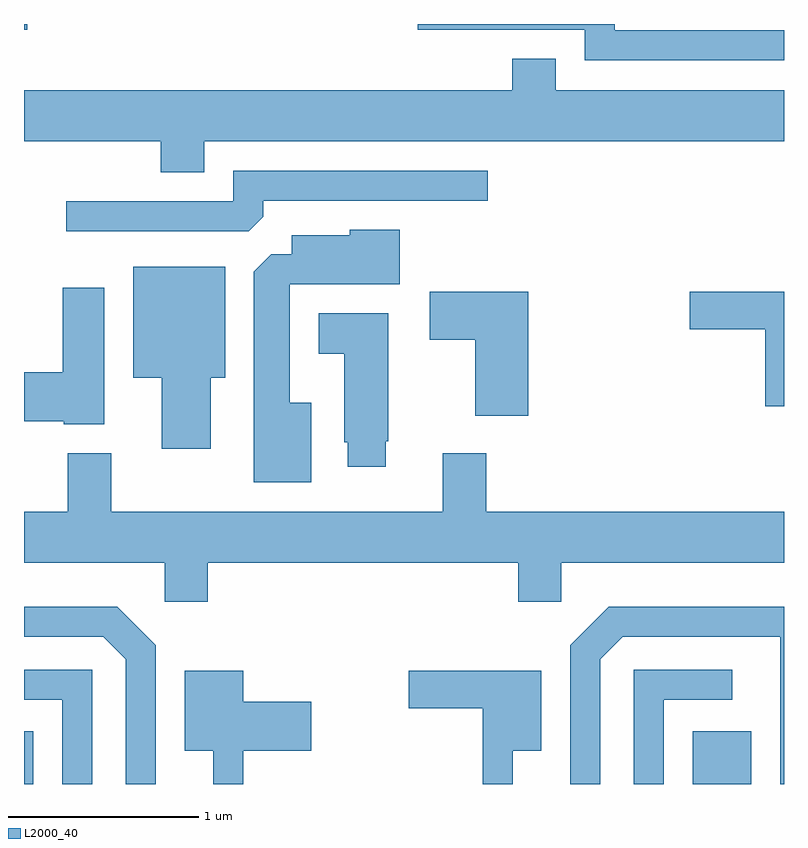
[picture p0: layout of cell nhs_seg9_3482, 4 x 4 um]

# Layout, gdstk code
import gdstk
lib = gdstk.Library(unit=1e-6, precision=1e-09)
def R(c, l, rs):  # rectangles x0, y0, x1, y1
    for r in rs: c.add(gdstk.rectangle(r[:2], r[2:], *l))
def P(c, l, *ps):  # polygons
    for p in ps: c.add(gdstk.Polygon(p, *l))
L2000_40 = (2000, 40)

nhs_seg9_3482 = lib.new_cell('nhs_seg9_3482')
R(nhs_seg9_3482, L2000_40, [(287.611,1988.432,287.659,1988.709), (291.131,1988.432,291.439,1988.709), (287.611,1992.401,287.628,1992.432)])
P(nhs_seg9_3482, L2000_40, [(291.611,1992.399),(290.719,1992.399),(290.719,1992.432),(289.683,1992.432),(289.683,1992.401),(290.561,1992.401),(290.561,1992.241),(291.611,1992.241)],
  [(288.559,1991.816),(291.611,1991.816),(291.611,1992.084),(290.409,1992.084),(290.409,1992.249),(290.181,1992.249),(290.181,1992.084),(287.611,1992.084),(287.611,1991.816),(288.331,1991.816),(288.331,1991.651),(288.559,1991.651)],
  [(288.869,1991.417),(288.869,1991.501),(290.053,1991.501),(290.053,1991.659),(288.711,1991.659),(288.711,1991.499),(287.833,1991.499),(287.833,1991.341),(288.794,1991.341)],
  [(289.124,1990.439),(289.009,1990.439),(289.009,1991.061),(289.589,1991.061),(289.589,1991.349),(289.326,1991.349),(289.326,1991.319),(289.021,1991.319),(289.021,1991.219),(288.912,1991.219),(288.821,1991.129),(288.821,1990.021),(289.124,1990.021)],
  [(288.594,1990.571),(288.669,1990.571),(288.669,1991.154),(288.186,1991.154),(288.186,1990.571),(288.336,1990.571),(288.336,1990.196),(288.594,1990.196)],
  [(288.034,1991.044),(287.816,1991.044),(287.816,1990.599),(287.611,1990.599),(287.611,1990.341),(287.82,1990.341),(287.82,1990.326),(288.034,1990.326)],
  [(291.611,1991.024),(291.116,1991.024),(291.116,1990.826),(291.511,1990.826),(291.511,1990.421),(291.611,1990.421)],
  [(290.264,1991.024),(289.746,1991.024),(289.746,1990.771),(289.986,1990.771),(289.986,1990.371),(290.264,1990.371)],
  [(289.514,1990.235),(289.529,1990.235),(289.529,1990.909),(289.161,1990.909),(289.161,1990.696),(289.296,1990.696),(289.296,1990.231),(289.316,1990.231),(289.316,1990.101),(289.514,1990.101)],
  [(288.579,1989.596),(290.211,1989.596),(290.211,1989.391),(290.439,1989.391),(290.439,1989.596),(291.611,1989.596),(291.611,1989.864),(290.044,1989.864),(290.044,1990.174),(289.816,1990.174),(289.816,1989.864),(288.069,1989.864),(288.069,1990.174),(287.841,1990.174),(287.841,1989.864),(287.611,1989.864),(287.611,1989.596),(288.351,1989.596),(288.351,1989.391),(288.579,1989.391)],
  [(290.644,1989.089),(290.762,1989.206),(291.591,1989.206),(291.591,1988.432),(291.611,1988.432),(291.611,1989.364),(290.689,1989.364),(290.486,1989.162),(290.486,1988.432),(290.644,1988.432)],
  [(288.304,1989.162),(288.102,1989.364),(287.611,1989.364),(287.611,1989.206),(288.029,1989.206),(288.146,1989.089),(288.146,1988.432),(288.304,1988.432)],
  [(290.979,1988.876),(291.338,1988.876),(291.338,1989.034),(290.821,1989.034),(290.821,1988.432),(290.979,1988.432)],
  [(287.969,1989.034),(287.611,1989.034),(287.611,1988.876),(287.811,1988.876),(287.811,1988.432),(287.969,1988.432)],
  [(288.764,1988.606),(289.124,1988.606),(289.124,1988.864),(288.764,1988.864),(288.764,1989.029),(288.456,1989.029),(288.456,1988.606),(288.606,1988.606),(288.606,1988.432),(288.764,1988.432)],
  [(290.184,1988.606),(290.334,1988.606),(290.334,1989.029),(289.636,1989.029),(289.636,1988.831),(290.026,1988.831),(290.026,1988.432),(290.184,1988.432)])

lib.write_gds('nhs_seg9_3482.gds')
